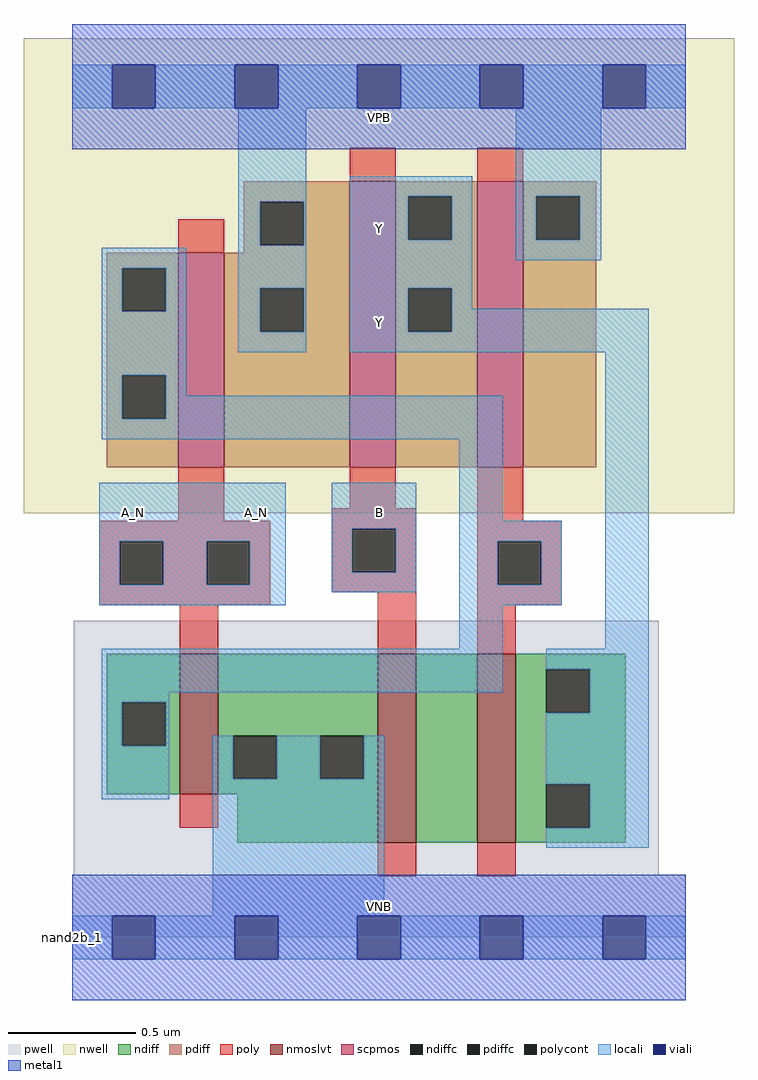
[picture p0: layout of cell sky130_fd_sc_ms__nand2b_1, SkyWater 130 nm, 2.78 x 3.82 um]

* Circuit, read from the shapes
.subckt sky130_fd_sc_ms__nand2b_1 A_N B VGND VNB VPB VPWR Y
XM1 VGND A_N n1 VNB sky130_fd_pr__nfet_01v8_lvt w=0.55 l=0.15
XM2 n2 B VGND VNB sky130_fd_pr__nfet_01v8_lvt w=0.74 l=0.15
XM3 Y n1 n2 VNB sky130_fd_pr__nfet_01v8_lvt w=0.74 l=0.15
XM4 VPWR A_N n1 VPB sky130_fd_pr__pfet_01v8 w=0.84 l=0.18
XM5 Y B VPWR VPB sky130_fd_pr__pfet_01v8 w=1.12 l=0.18
XM6 VPWR n1 Y VPB sky130_fd_pr__pfet_01v8 w=1.12 l=0.18
.ends

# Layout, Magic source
magic
tech sky130A
magscale 1 2
<< nwell >>
rect -38 332 518 704
<< pwell >>
rect 1 49 459 248
rect 0 0 480 49
<< scpmos >>
rect 83 368 119 536
rect 217 368 253 592
rect 317 368 353 592
<< nmoslvt >>
rect 84 112 114 222
rect 239 74 269 222
rect 317 74 347 222
<< ndiff >>
rect 27 184 84 222
rect 27 150 39 184
rect 73 150 84 184
rect 27 112 84 150
rect 114 158 239 222
rect 114 124 126 158
rect 160 124 194 158
rect 228 124 239 158
rect 114 112 239 124
rect 129 74 239 112
rect 269 74 317 222
rect 347 210 433 222
rect 347 176 371 210
rect 405 176 433 210
rect 347 120 433 176
rect 347 86 371 120
rect 405 86 433 120
rect 347 74 433 86
<< pdiff >>
rect 134 576 217 592
rect 134 542 147 576
rect 181 542 217 576
rect 134 536 217 542
rect 27 524 83 536
rect 27 490 39 524
rect 73 490 83 524
rect 27 440 83 490
rect 27 406 39 440
rect 73 406 83 440
rect 27 368 83 406
rect 119 508 217 536
rect 119 474 147 508
rect 181 474 217 508
rect 119 368 217 474
rect 253 580 317 592
rect 253 546 263 580
rect 297 546 317 580
rect 253 508 317 546
rect 253 474 263 508
rect 297 474 317 508
rect 253 368 317 474
rect 353 580 410 592
rect 353 546 363 580
rect 397 546 410 580
rect 353 368 410 546
<< ndiffc >>
rect 39 150 73 184
rect 126 124 160 158
rect 194 124 228 158
rect 371 176 405 210
rect 371 86 405 120
<< pdiffc >>
rect 147 542 181 576
rect 39 490 73 524
rect 39 406 73 440
rect 147 474 181 508
rect 263 546 297 580
rect 263 474 297 508
rect 363 546 397 580
<< poly >>
rect 217 592 253 618
rect 317 592 353 618
rect 83 536 119 562
rect 83 326 119 368
rect 217 336 253 368
rect 21 310 155 326
rect 21 276 37 310
rect 71 276 105 310
rect 139 276 155 310
rect 21 260 155 276
rect 203 320 269 336
rect 203 286 219 320
rect 253 286 269 320
rect 203 270 269 286
rect 84 222 114 260
rect 239 222 269 270
rect 317 326 353 368
rect 317 310 383 326
rect 317 276 333 310
rect 367 276 383 310
rect 317 260 383 276
rect 317 222 347 260
rect 84 86 114 112
rect 239 48 269 74
rect 317 48 347 74
<< polycont >>
rect 37 276 71 310
rect 105 276 139 310
rect 219 286 253 320
rect 333 276 367 310
<< locali >>
rect 0 649 31 683
rect 65 649 127 683
rect 161 649 223 683
rect 257 649 319 683
rect 353 649 415 683
rect 449 649 480 683
rect 130 576 183 649
rect 130 542 147 576
rect 181 542 183 576
rect 23 524 89 540
rect 23 490 39 524
rect 73 490 89 524
rect 23 440 89 490
rect 130 508 183 542
rect 130 474 147 508
rect 181 474 183 508
rect 130 458 183 474
rect 217 580 313 596
rect 217 546 263 580
rect 297 546 313 580
rect 217 508 313 546
rect 347 580 414 649
rect 347 546 363 580
rect 397 546 414 580
rect 347 530 414 546
rect 217 474 263 508
rect 297 492 313 508
rect 297 474 451 492
rect 217 458 451 474
rect 23 406 39 440
rect 73 424 89 440
rect 73 406 337 424
rect 23 390 337 406
rect 21 310 167 356
rect 21 276 37 310
rect 71 276 105 310
rect 139 276 167 310
rect 21 260 167 276
rect 203 320 269 356
rect 203 286 219 320
rect 253 286 269 320
rect 203 270 269 286
rect 303 326 337 390
rect 303 310 383 326
rect 303 276 333 310
rect 367 276 383 310
rect 303 260 383 276
rect 303 226 337 260
rect 417 226 451 458
rect 23 192 337 226
rect 371 210 451 226
rect 23 184 76 192
rect 23 150 39 184
rect 73 150 76 184
rect 405 176 451 210
rect 23 108 76 150
rect 110 124 126 158
rect 160 124 194 158
rect 228 124 244 158
rect 110 17 244 124
rect 371 120 451 176
rect 405 86 451 120
rect 371 70 451 86
rect 0 -17 31 17
rect 65 -17 127 17
rect 161 -17 223 17
rect 257 -17 319 17
rect 353 -17 415 17
rect 449 -17 480 17
<< viali >>
rect 31 649 65 683
rect 127 649 161 683
rect 223 649 257 683
rect 319 649 353 683
rect 415 649 449 683
rect 31 -17 65 17
rect 127 -17 161 17
rect 223 -17 257 17
rect 319 -17 353 17
rect 415 -17 449 17
<< metal1 >>
rect 0 683 480 715
rect 0 649 31 683
rect 65 649 127 683
rect 161 649 223 683
rect 257 649 319 683
rect 353 649 415 683
rect 449 649 480 683
rect 0 617 480 649
rect 0 17 480 49
rect 0 -17 31 17
rect 65 -17 127 17
rect 161 -17 223 17
rect 257 -17 319 17
rect 353 -17 415 17
rect 449 -17 480 17
rect 0 -49 480 -17
<< labels >>
flabel pwell s 0 0 480 49 0 FreeSans 200 0 0 0 VNB
port 4 nsew ground bidirectional
flabel nwell s 0 617 480 666 0 FreeSans 200 0 0 0 VPB
port 5 nsew power bidirectional
rlabel comment s 0 0 0 0 4 nand2b_1
flabel metal1 s 0 617 480 666 0 FreeSans 340 0 0 0 VPWR
port 6 nsew power bidirectional
flabel metal1 s 0 0 480 49 0 FreeSans 340 0 0 0 VGND
port 3 nsew ground bidirectional
flabel locali s 31 316 65 350 0 FreeSans 340 0 0 0 A_N
port 1 nsew signal input
flabel locali s 127 316 161 350 0 FreeSans 340 0 0 0 A_N
port 1 nsew signal input
flabel locali s 223 316 257 350 0 FreeSans 340 0 0 0 B
port 2 nsew signal input
flabel locali s 223 464 257 498 0 FreeSans 340 0 0 0 Y
port 7 nsew signal output
flabel locali s 223 538 257 572 0 FreeSans 340 0 0 0 Y
port 7 nsew signal output
<< properties >>
string LEFsite unit
string LEFclass CORE
string FIXED_BBOX 0 0 480 666
string GDS_FILE $PDKPATH/libs.ref/sky130_fd_sc_ms/gds/sky130_fd_sc_ms.gds
string LEFsymmetry X Y
string GDS_END 2432144
string GDS_START 2427528
<< end >>
